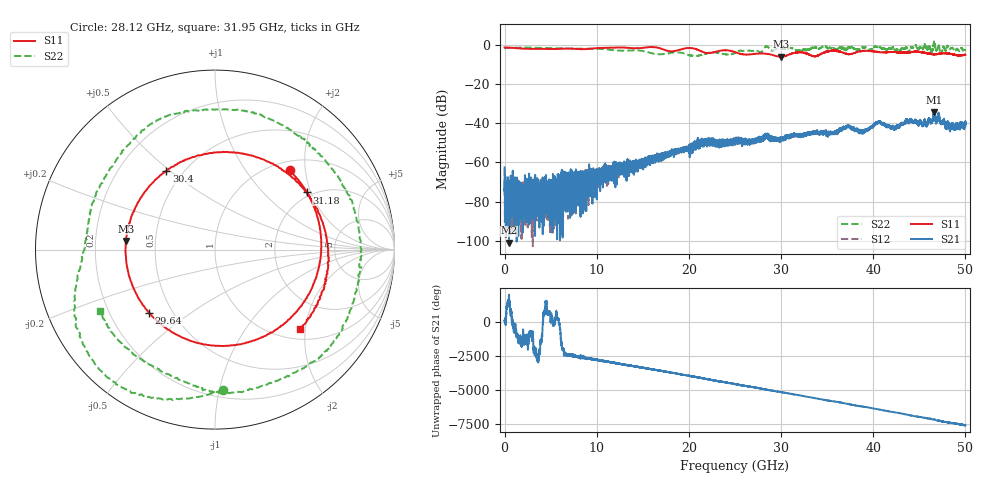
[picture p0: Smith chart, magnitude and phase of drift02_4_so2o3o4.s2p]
!Created with skrf (http://scikit-rf.org).
# Hz S RI R 50.0
!freq ReS11 ImS11 ReS21 ImS21 ReS12 ImS12 ReS22 ImS22
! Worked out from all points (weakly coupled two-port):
!   10001 points, 300 kHz to 50 GHz, reference 50 ohm
!   highest |S21| = -34.46 dB at 46.6 GHz (marker M1); lowest = -101.0 dB at 480.3 MHz (marker M2)
!   lowest |S11| = -6.1 dB at 30.01 GHz (marker M3), VSWR 2.97, Z = 16.8 + j2.12 ohm
!   |S11| at or under -10 dB: nowhere
!   |S22| runs from -5.7 to 2.3 dB; largest |S21 - S12| = 0.0035
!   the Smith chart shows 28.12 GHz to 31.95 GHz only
!   S11 on the Smith chart (normalised r, x): 28.12 GHz: 1.18, +1.64; 29.64 GHz: 0.37, -0.35; 30.4 GHz: 0.41, +0.49; 31.18 GHz: 1.88, +1.88; 31.95 GHz: 1.21, -1.87
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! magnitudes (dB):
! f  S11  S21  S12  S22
! 300 kHz  -1.3  -62.5  -63.1  -2.1
! 255.3 MHz  -1.4  -78.6  -78.3  -1.4
! 480.3 MHz  -1.4  -101.0  -75.7  -1.5
! 5 GHz  -2.1  -70.4  -78.3  -1.6
! 8.335 GHz  -2.2  -71.5  -66.9  -1.9
! 16.67 GHz  -1.5  -57.9  -57.5  -4.8
! 21.32 GHz  -3.2  -49.7  -50.5  -5.2
! 25 GHz  -3.7  -48.3  -48.6  -3.9
! 28.12 GHz  -4.4  -47.3  -47.4  -2.1
! 29.64 GHz  -5.9  -47.6  -48.1  -2.2
! 30.01 GHz  -6.1  -48.0  -48.3  -2.1
! 30.4 GHz  -5.7  -47.2  -47.1  -1.9
! 31.18 GHz  -4.4  -46.1  -46.2  -1.7
! 31.95 GHz  -3.8  -46.4  -46.4  -2.8
! 33.34 GHz  -5.5  -45.2  -45.1  -1.5
! 37.29 GHz  -4.7  -41.2  -41.6  -1.4
! 38.82 GHz  -3.1  -44.0  -44.2  -1.2
! 40.61 GHz  -3.6  -39.0  -39.2  -0.9
! 41.67 GHz  -3.6  -41.1  -41.3  -1.9
! 46.6 GHz  -4.7  -34.5  -34.7  1.7
! 48.09 GHz  -4.4  -41.2  -40.1  -0.4
! 50 GHz  -5.0  -41.2  -40.9  -2.6
